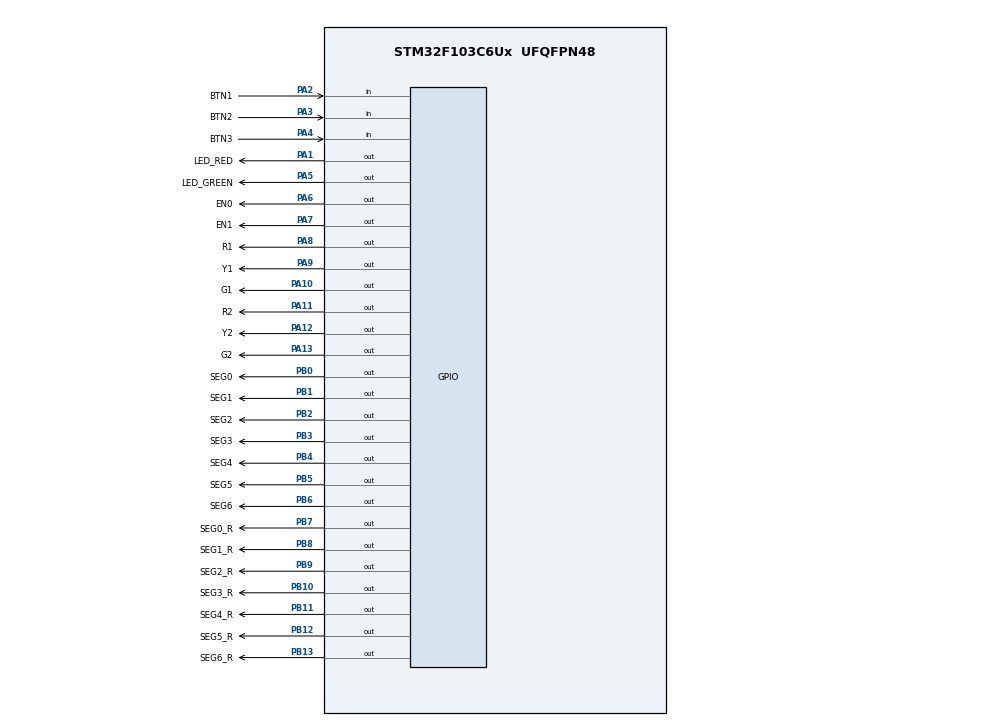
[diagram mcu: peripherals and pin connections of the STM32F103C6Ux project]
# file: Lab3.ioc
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Mcu.Family=STM32F1
Mcu.Name=STM32F103C6Ux
Mcu.Package=UFQFPN48
NVIC.PriorityGroup=NVIC_PRIORITYGROUP_4
NVIC.TIM2_IRQn=true\:0\:0\:false\:false\:true\:true\:true
PA1.GPIO_Label=LED_RED
PA1.Signal=GPIO_Output
PA10.GPIO_Label=G1
PA10.Signal=GPIO_Output
PA11.GPIO_Label=R2
PA11.Signal=GPIO_Output
PA12.GPIO_Label=Y2
PA12.Signal=GPIO_Output
PA13.GPIO_Label=G2
PA13.Signal=GPIO_Output
PA2.GPIO_Label=BTN1
PA2.GPIO_PuPd=GPIO_PULLUP
PA2.Signal=GPIO_Input
PA3.GPIO_Label=BTN2
PA3.GPIO_PuPd=GPIO_PULLUP
PA3.Signal=GPIO_Input
PA4.GPIO_Label=BTN3
PA4.GPIO_PuPd=GPIO_PULLUP
PA4.Signal=GPIO_Input
PA5.GPIO_Label=LED_GREEN
PA5.GPIO_PuPd=GPIO_PULLUP
PA5.Signal=GPIO_Output
PA6.GPIO_Label=EN0
PA6.Signal=GPIO_Output
PA7.GPIO_Label=EN1
PA7.Signal=GPIO_Output
PA8.GPIO_Label=R1
PA8.Signal=GPIO_Output
PA9.GPIO_Label=Y1
PA9.Signal=GPIO_Output
PB0.GPIO_Label=SEG0
PB0.Signal=GPIO_Output
PB1.GPIO_Label=SEG1
PB1.Signal=GPIO_Output
PB10.GPIO_Label=SEG3_R
PB10.Signal=GPIO_Output
PB11.GPIO_Label=SEG4_R
PB11.Signal=GPIO_Output
PB12.GPIO_Label=SEG5_R
PB12.Signal=GPIO_Output
PB13.GPIO_Label=SEG6_R
PB13.Signal=GPIO_Output
PB2.GPIO_Label=SEG2
PB2.Signal=GPIO_Output
PB3.GPIO_Label=SEG3
PB3.Signal=GPIO_Output
PB4.GPIO_Label=SEG4
PB4.Signal=GPIO_Output
PB5.GPIO_Label=SEG5
PB5.Signal=GPIO_Output
PB6.GPIO_Label=SEG6
PB6.Signal=GPIO_Output
PB7.GPIO_Label=SEG0_R
PB7.Signal=GPIO_Output
PB8.GPIO_Label=SEG1_R
PB8.Signal=GPIO_Output
PB9.GPIO_Label=SEG2_R
PB9.Signal=GPIO_Output
ProjectManager.HeapSize=0x200
ProjectManager.StackSize=0x400
ProjectManager.TargetToolchain=STM32CubeIDE
RCC.APB1Freq_Value=8000000
RCC.APB2Freq_Value=8000000
TIM2.Period=9
TIM2.Prescaler=7999
VP_SYS_VS_ND.Mode=No_Debug
VP_TIM2_VS_ClockSourceINT.Mode=Internal
board=custom

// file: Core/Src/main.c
/* USER CODE BEGIN Header */
/**
 ******************************************************************************
 * @file           : main.c
 * @brief          : Main program body
 ******************************************************************************
 * @attention
 *
 * <h2><center>&copy; Copyright (c) 2024 STMicroelectronics.
 * All rights reserved.</center></h2>
 *
 * This software component is licensed by ST under BSD 3-Clause license,
 * the "License"; You may not use this file except in compliance with the
 * License. You may obtain a copy of the License at:
 *                        opensource.org/licenses/BSD-3-Clause
 *
 ******************************************************************************
 */
/* USER CODE END Header */
#include "main.h"

/* USER CODE BEGIN Includes */
#include "global.h"
#include "led7_segment.h"
#include "traffic_light.h"
#include "software_timer.h"
#include "button.h"
#include "fsm_automatic.h"
#include "fsm_manual.h"
/* USER CODE END Includes */

TIM_HandleTypeDef htim2;

void SystemClock_Config(void);
static void MX_GPIO_Init(void);
static void MX_TIM2_Init(void);

int main(void)
{

  /* MCU Configuration--------------------------------------------------------*/

  /* Reset of all peripherals, Initializes the Flash interface and the Systick. */
  HAL_Init();

  /* Configure the system clock */
  SystemClock_Config();

  /* Initialize all configured peripherals */
  MX_GPIO_Init();
  MX_TIM2_Init();
  /* USER CODE BEGIN 2 */
	HAL_TIM_Base_Start_IT(&htim2);
	status = INIT;

	EN=0;
	//SETUP
	setTimer1(1);
	setTimer2(1);
	setTimer3(1);
	//END SETUP
  /* USER CODE END 2 */

  /* Infinite loop */
	while (1) {

    /* USER CODE BEGIN 3 */
		//unit test for timer
//		if (timer2_flag == 1) {
//			//timer done
//			setTimer2(50);
//			HAL_GPIO_TogglePin(GPIOA, GPIO_PIN_5);
//			//7segment done
//			display7SEG1(num++);
//			display7SEG2(num);
//			display7SEGEN(num++);
//			//traffic_light done
//			if(num<=3){
//				led_red_and_green();
//			}
//			if(num>3 && num <=5){
//				led_red_and_yellow();
//			}
//			if(num>5 && num<=8){
//				led_green_and_red();
//			}
//			if(num>8 && num<=10){
//				led_yellow_and_red();
//			}
//			if(num ==11){
//				led_green();
//			}
//			if(num==12){
//				led_yellow();
//			}
//			if(num==13){
//				led_red();
//			}
//		}
//		if(timer1_flag==1){
//			setTimer1(50);
//			HAL_GPIO_TogglePin(GPIOA, GPIO_PIN_5);
//		}
		//unit test for button done
//		if (button_flag[0] == 1 || button_flag[1]== 1
//				|| button_flag[0] == 1) {
//			HAL_GPIO_TogglePin(GPIOA, GPIO_PIN_1);
//		}

		fsm_automatic_run();
		fsm_manual_run();

	}
  /* USER CODE END 3 */
}

void SystemClock_Config(void)
{
  RCC_OscInitTypeDef RCC_OscInitStruct = {0};
  RCC_ClkInitTypeDef RCC_ClkInitStruct = {0};

  /** Initializes the RCC Oscillators according to the specified parameters
  * in the RCC_OscInitTypeDef structure.
  */
  RCC_OscInitStruct.OscillatorType = RCC_OSCILLATORTYPE_HSI;
  RCC_OscInitStruct.HSIState = RCC_HSI_ON;
  RCC_OscInitStruct.HSICalibrationValue = RCC_HSICALIBRATION_DEFAULT;
  RCC_OscInitStruct.PLL.PLLState = RCC_PLL_NONE;
  if (HAL_RCC_OscConfig(&RCC_OscInitStruct) != HAL_OK)
  {
    Error_Handler();
  }
  /** Initializes the CPU, AHB and APB buses clocks
  */
  RCC_ClkInitStruct.ClockType = RCC_CLOCKTYPE_HCLK|RCC_CLOCKTYPE_SYSCLK
                              |RCC_CLOCKTYPE_PCLK1|RCC_CLOCKTYPE_PCLK2;
  RCC_ClkInitStruct.SYSCLKSource = RCC_SYSCLKSOURCE_HSI;
  RCC_ClkInitStruct.AHBCLKDivider = RCC_SYSCLK_DIV1;
  RCC_ClkInitStruct.APB1CLKDivider = RCC_HCLK_DIV1;
  RCC_ClkInitStruct.APB2CLKDivider = RCC_HCLK_DIV1;

  if (HAL_RCC_ClockConfig(&RCC_ClkInitStruct, FLASH_LATENCY_0) != HAL_OK)
  {
    Error_Handler();
  }
}

static void MX_TIM2_Init(void)
{

  TIM_ClockConfigTypeDef sClockSourceConfig = {0};
  TIM_MasterConfigTypeDef sMasterConfig = {0};

  htim2.Instance = TIM2;
  htim2.Init.Prescaler = 7999;
  htim2.Init.CounterMode = TIM_COUNTERMODE_UP;
  htim2.Init.Period = 9;
  htim2.Init.ClockDivision = TIM_CLOCKDIVISION_DIV1;
  htim2.Init.AutoReloadPreload = TIM_AUTORELOAD_PRELOAD_DISABLE;
  if (HAL_TIM_Base_Init(&htim2) != HAL_OK)
  {
    Error_Handler();
  }
  sClockSourceConfig.ClockSource = TIM_CLOCKSOURCE_INTERNAL;
  if (HAL_TIM_ConfigClockSource(&htim2, &sClockSourceConfig) != HAL_OK)
  {
    Error_Handler();
  }
  sMasterConfig.MasterOutputTrigger = TIM_TRGO_RESET;
  sMasterConfig.MasterSlaveMode = TIM_MASTERSLAVEMODE_DISABLE;
  if (HAL_TIMEx_MasterConfigSynchronization(&htim2, &sMasterConfig) != HAL_OK)
  {
    Error_Handler();
  }

}

static void MX_GPIO_Init(void)
{
  GPIO_InitTypeDef GPIO_InitStruct = {0};

  /* GPIO Ports Clock Enable */
  __HAL_RCC_GPIOA_CLK_ENABLE();
  __HAL_RCC_GPIOB_CLK_ENABLE();

  /*Configure GPIO pin Output Level */
  HAL_GPIO_WritePin(GPIOA, LED_RED_Pin|LED_GREEN_Pin|EN0_Pin|EN1_Pin
                          |R1_Pin|Y1_Pin|G1_Pin|R2_Pin
                          |Y2_Pin|G2_Pin, GPIO_PIN_RESET);

  /*Configure GPIO pin Output Level */
  HAL_GPIO_WritePin(GPIOB, SEG0_Pin|SEG1_Pin|SEG2_Pin|SEG3_R_Pin
                          |SEG4_R_Pin|SEG5_R_Pin|SEG6_R_Pin|SEG3_Pin
                          |SEG4_Pin|SEG5_Pin|SEG6_Pin|SEG0_R_Pin
                          |SEG1_R_Pin|SEG2_R_Pin, GPIO_PIN_RESET);

  /*Configure GPIO pins : LED_RED_Pin EN0_Pin EN1_Pin R1_Pin
                           Y1_Pin G1_Pin R2_Pin Y2_Pin
                           G2_Pin */
  GPIO_InitStruct.Pin = LED_RED_Pin|EN0_Pin|EN1_Pin|R1_Pin
                          |Y1_Pin|G1_Pin|R2_Pin|Y2_Pin
                          |G2_Pin;
  GPIO_InitStruct.Mode = GPIO_MODE_OUTPUT_PP;
  GPIO_InitStruct.Pull = GPIO_NOPULL;
  GPIO_InitStruct.Speed = GPIO_SPEED_FREQ_LOW;
  HAL_GPIO_Init(GPIOA, &GPIO_InitStruct);

  /*Configure GPIO pins : BTN1_Pin BTN2_Pin BTN3_Pin */
  GPIO_InitStruct.Pin = BTN1_Pin|BTN2_Pin|BTN3_Pin;
  GPIO_InitStruct.Mode = GPIO_MODE_INPUT;
  GPIO_InitStruct.Pull = GPIO_PULLUP;
  HAL_GPIO_Init(GPIOA, &GPIO_InitStruct);

  /*Configure GPIO pin : LED_GREEN_Pin */
  GPIO_InitStruct.Pin = LED_GREEN_Pin;
  GPIO_InitStruct.Mode = GPIO_MODE_OUTPUT_PP;
  GPIO_InitStruct.Pull = GPIO_PULLUP;
  GPIO_InitStruct.Speed = GPIO_SPEED_FREQ_LOW;
  HAL_GPIO_Init(LED_GREEN_GPIO_Port, &GPIO_InitStruct);

  /*Configure GPIO pins : SEG0_Pin SEG1_Pin SEG2_Pin SEG3_R_Pin
                           SEG4_R_Pin SEG5_R_Pin SEG6_R_Pin SEG3_Pin
                           SEG4_Pin SEG5_Pin SEG6_Pin SEG0_R_Pin
                           SEG1_R_Pin SEG2_R_Pin */
  GPIO_InitStruct.Pin = SEG0_Pin|SEG1_Pin|SEG2_Pin|SEG3_R_Pin
                          |SEG4_R_Pin|SEG5_R_Pin|SEG6_R_Pin|SEG3_Pin
                          |SEG4_Pin|SEG5_Pin|SEG6_Pin|SEG0_R_Pin
                          |SEG1_R_Pin|SEG2_R_Pin;
  GPIO_InitStruct.Mode = GPIO_MODE_OUTPUT_PP;
  GPIO_InitStruct.Pull = GPIO_NOPULL;
  GPIO_InitStruct.Speed = GPIO_SPEED_FREQ_LOW;
  HAL_GPIO_Init(GPIOB, &GPIO_InitStruct);

}

/* USER CODE BEGIN 4 */
void HAL_TIM_PeriodElapsedCallback(TIM_HandleTypeDef *htim) {
	timerRun();
	getKeyInput();
}
/* USER CODE END 4 */

void Error_Handler(void)
{
	__disable_irq();
	while (1) {
	}
}

/************************ (C) COPYRIGHT STMicroelectronics *****END OF FILE****/
